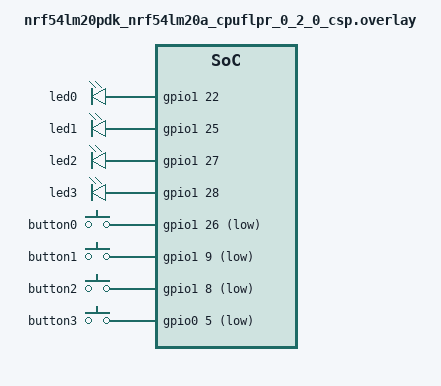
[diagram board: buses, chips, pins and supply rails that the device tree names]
/*
 * Copyright (c) 2025 Nordic Semiconductor ASA
 *
 * SPDX-License-Identifier: Apache-2.0
 */

/ {
	leds {
		compatible = "gpio-leds";

		led0: led_0 {
			gpios = <&gpio1 22 GPIO_ACTIVE_HIGH>;
		};

		led1: led_1 {
			gpios = <&gpio1 25 GPIO_ACTIVE_HIGH>;
		};

		led2: led_2 {
			gpios = <&gpio1 27 GPIO_ACTIVE_HIGH>;
		};

		led3: led_3 {
			gpios = <&gpio1 28 GPIO_ACTIVE_HIGH>;
		};
	};

	buttons {
		compatible = "gpio-keys";

		button0: button_0 {
			gpios = <&gpio1 26 (GPIO_PULL_UP | GPIO_ACTIVE_LOW)>;
		};

		button1: button_1 {
			gpios = <&gpio1 9 (GPIO_PULL_UP | GPIO_ACTIVE_LOW)>;
		};

		button2: button_2 {
			gpios = <&gpio1 8 (GPIO_PULL_UP | GPIO_ACTIVE_LOW)>;
		};

		button3: button_3 {
			gpios = <&gpio0 5 (GPIO_PULL_UP | GPIO_ACTIVE_LOW)>;
		};
	};
};

&pinctrl {
	uart30_default: uart30_default {
		group1 {
			psels = <NRF_PSEL(UART_TX, 0, 6)>,
				<NRF_PSEL(UART_RTS, 0, 8)>;
		};

		group2 {
			psels = <NRF_PSEL(UART_RX, 0, 7)>,
				<NRF_PSEL(UART_CTS, 0, 9)>;
			bias-pull-up;
		};
	};

	uart30_sleep: uart30_sleep {
		group1 {
			psels = <NRF_PSEL(UART_TX, 0, 6)>,
				<NRF_PSEL(UART_RX, 0, 7)>,
				<NRF_PSEL(UART_RTS, 0, 8)>,
				<NRF_PSEL(UART_CTS, 0, 9)>;
			low-power-enable;
		};
	};
};
